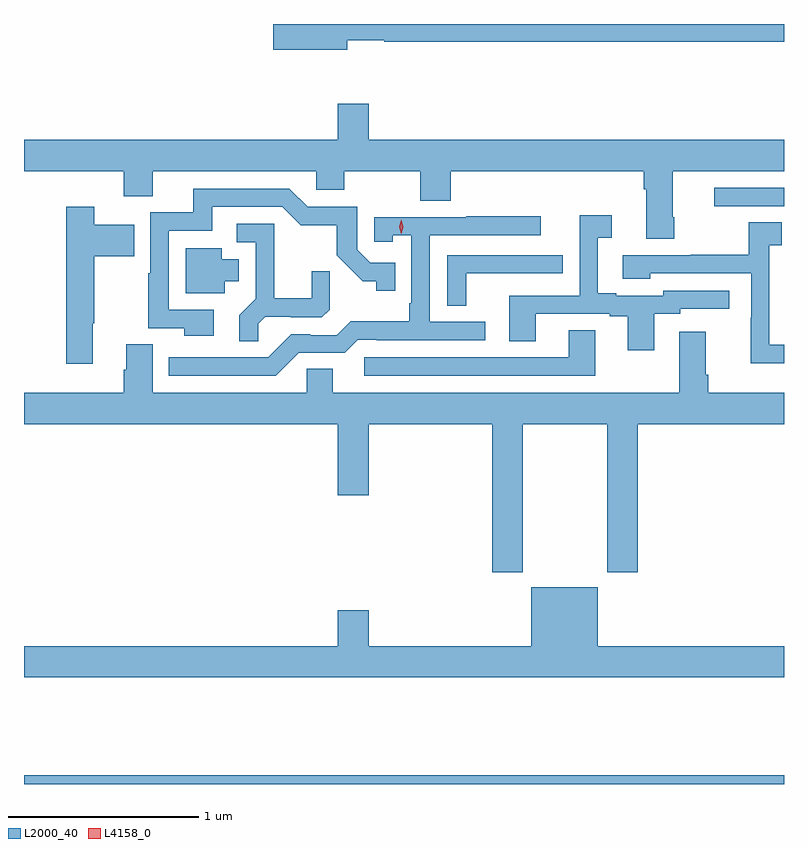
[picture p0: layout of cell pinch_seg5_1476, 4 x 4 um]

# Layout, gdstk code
import gdstk
lib = gdstk.Library(unit=1e-6, precision=1e-09)
def R(c, l, rs):  # rectangles x0, y0, x1, y1
    for r in rs: c.add(gdstk.rectangle(r[:2], r[2:], *l))
def P(c, l, *ps):  # polygons
    for p in ps: c.add(gdstk.Polygon(p, *l))
L2000_40 = (2000, 40)
L4158_0 = (4158, 0)

pinch_seg5_1476 = lib.new_cell('pinch_seg5_1476')
R(pinch_seg5_1476, L2000_40, [(319.201,845.542,323.201,845.588), (322.833,848.583,323.201,848.679)])
P(pinch_seg5_1476, L2000_40, [(320.902,849.456),(321.098,849.456),(321.098,849.448),(323.201,849.448),(323.201,849.542),(320.514,849.542),(320.514,849.406),(320.902,849.406)],
  [(321.016,849.121),(320.852,849.121),(320.852,848.932),(319.201,848.932),(319.201,848.768),(319.727,848.768),(319.727,848.635),(319.879,848.635),(319.879,848.768),(320.739,848.768),(320.739,848.67),(320.886,848.67),(320.886,848.768),(321.286,848.768),(321.286,848.611),(321.446,848.611),(321.446,848.768),(322.463,848.768),(322.463,848.672),(322.475,848.672),(322.475,848.412),(322.623,848.412),(322.623,848.524),(322.615,848.524),(322.615,848.768),(323.201,848.768),(323.201,848.932),(321.016,848.932)],
  [(320.2,848.037),(319.962,848.037),(319.962,848.454),(320.191,848.454),(320.191,848.58),(320.559,848.58),(320.658,848.482),(320.847,848.482),(320.847,848.326),(320.984,848.189),(321.054,848.189),(321.054,848.139),(321.155,848.139),(321.155,848.286),(321.024,848.286),(320.955,848.355),(320.955,848.58),(320.694,848.58),(320.598,848.676),(320.093,848.676),(320.093,848.55),(319.866,848.55),(319.866,848.231),(319.854,848.231),(319.854,847.941),(320.044,847.941),(320.044,847.901),(320.2,847.901)],
  [(319.564,847.967),(319.572,847.967),(319.572,848.32),(319.781,848.32),(319.781,848.485),(319.572,848.485),(319.572,848.581),(319.423,848.581),(319.423,847.755),(319.564,847.755)],
  [(322.519,848.016),(322.656,848.016),(322.656,848.043),(322.912,848.043),(322.912,848.139),(322.566,848.139),(322.566,848.112),(322.318,848.112),(322.318,848.125),(322.222,848.125),(322.222,848.416),(322.294,848.416),(322.294,848.536),(322.125,848.536),(322.125,848.112),(321.755,848.112),(321.755,847.873),(321.895,847.873),(321.895,848.016),(322.283,848.016),(322.283,848.004),(322.379,848.004),(322.379,847.824),(322.519,847.824)],
  [(320.646,847.812),(320.889,847.812),(320.958,847.881),(321.058,847.881),(321.058,847.878),(321.628,847.878),(321.628,847.974),(321.336,847.974),(321.336,848.43),(321.922,848.43),(321.922,848.529),(321.529,848.529),(321.529,848.526),(321.045,848.526),(321.045,848.397),(321.141,848.397),(321.141,848.429),(321.24,848.429),(321.24,848.071),(321.228,848.071),(321.228,847.978),(320.92,847.978),(320.847,847.905),(320.708,847.905),(320.708,847.908),(320.607,847.908),(320.487,847.788),(319.964,847.788),(319.964,847.692),(320.526,847.692)],
  [(323.201,847.855),(323.124,847.855),(323.124,848.377),(323.188,848.377),(323.188,848.498),(323.016,848.498),(323.016,848.328),(322.711,848.328),(322.711,848.325),(322.353,848.325),(322.353,848.201),(322.497,848.201),(322.497,848.229),(323.028,848.229),(323.028,847.997),(323.026,847.997),(323.026,847.757),(323.201,847.757)],
  [(320.433,847.964),(320.47,848.001),(320.604,848.001),(320.604,847.998),(320.769,847.998),(320.81,848.039),(320.81,848.241),(320.716,848.241),(320.716,848.098),(320.519,848.098),(320.519,848.49),(320.322,848.49),(320.322,848.394),(320.421,848.394),(320.421,848.095),(320.335,848.009),(320.335,847.873),(320.433,847.873)],
  [(320.257,848.189),(320.332,848.189),(320.332,848.305),(320.242,848.305),(320.242,848.362),(320.051,848.362),(320.051,848.126),(320.257,848.126)],
  [(321.528,848.229),(321.923,848.229),(321.923,848.23),(322.036,848.23),(322.036,848.325),(321.429,848.325),(321.429,848.059),(321.528,848.059)],
  [(322.207,847.931),(322.067,847.931),(322.067,847.788),(320.991,847.788),(320.991,847.692),(322.207,847.692)],
  [(320.827,847.727),(320.688,847.727),(320.688,847.6),(319.879,847.6),(319.879,847.856),(319.739,847.856),(319.739,847.722),(319.727,847.722),(319.727,847.6),(319.201,847.6),(319.201,847.436),(320.852,847.436),(320.852,847.062),(321.016,847.062),(321.016,847.436),(321.665,847.436),(321.665,846.657),(321.825,846.657),(321.825,847.436),(322.27,847.436),(322.27,846.657),(322.43,846.657),(322.43,847.436),(323.201,847.436),(323.201,847.6),(322.802,847.6),(322.802,847.696),(322.789,847.696),(322.789,847.921),(322.649,847.921),(322.649,847.6),(320.827,847.6)],
  [(323.201,846.268),(322.222,846.268),(322.222,846.577),(321.872,846.577),(321.872,846.268),(321.016,846.268),(321.016,846.457),(320.852,846.457),(320.852,846.268),(319.201,846.268),(319.201,846.104),(323.201,846.104)])
P(pinch_seg5_1476, L4158_0, [(321.186,848.439),(321.177,848.475),(321.186,848.51),(321.187,848.511),(321.187,848.51),(321.197,848.475),(321.187,848.439),(321.187,848.439)])

lib.write_gds('pinch_seg5_1476.gds')
